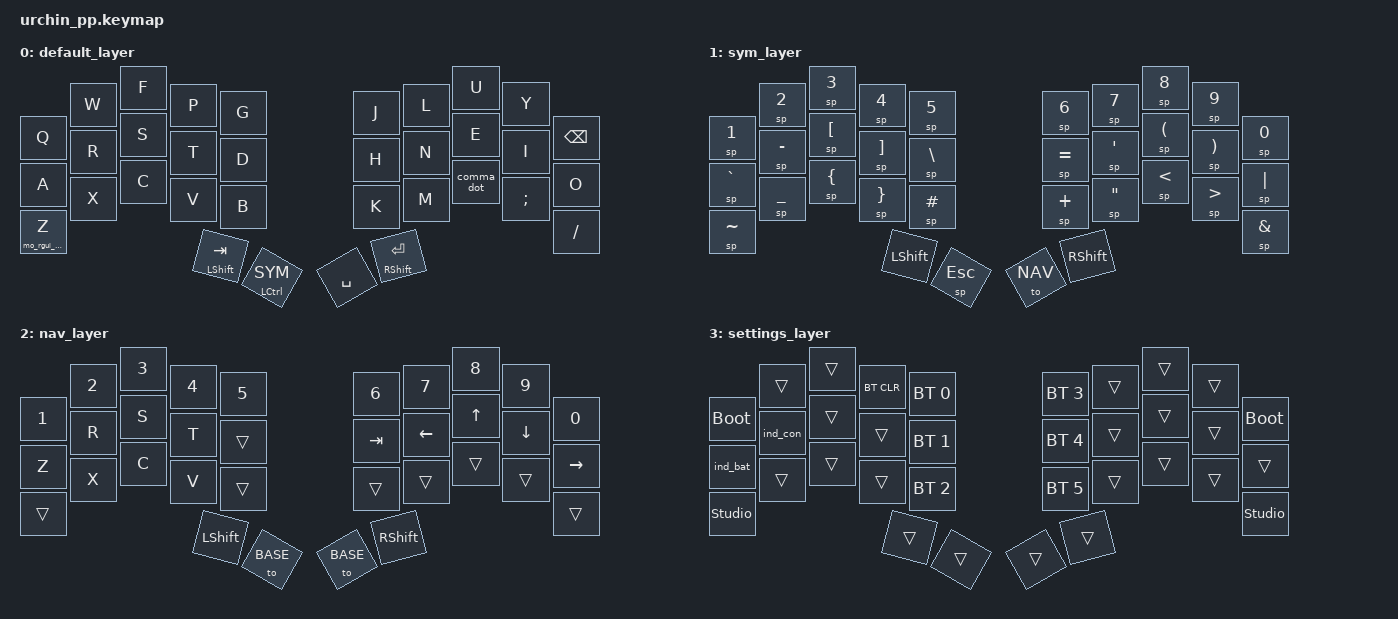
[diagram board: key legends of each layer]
/*
 * urchin++ keymap: ported from brancz/urchin-zmk-firmware (config/urchin.keymap,
 * commit 5bfccc6), which is based on duckyb's Urchin keymap.
 * Copyright (c) 2020 duckyb
 *
 * SPDX-License-Identifier: MIT
 *
 * Positions are the Urchin's: three rows of 5 + 5 keys (0-29), then the thumbs left outer,
 * left inner, right inner, right outer (30-33). Added for urchin++: &ind_bat / &ind_con on
 * the settings layer (zmk-rgbled-widget: show battery level / connection state on the LED).
 */

#include <behaviors.dtsi>
#include <behaviors/rgbled_widget.dtsi>
#include <dt-bindings/zmk/keys.h>
#include <dt-bindings/zmk/bt.h>
#include <dt-bindings/zmk/outputs.h>

// Layer definitions
#define BASE 0
#define SYM 1
#define NAV 2
#define SETTINGS 3
// -----------------

&sk {
	// don't release mods on other mods presses
	ignore-modifiers;
};


/ {
	behaviors {
		// Enables holding the first mod-tap key
		// by performing a tap-release-hold sequence.
		// To use it: "&qt KEYCODE1 KEYCODE2"
		qt: quick_tap {
			compatible = "zmk,behavior-hold-tap";
			#binding-cells = <2>;
			flavor = "hold-preferred";
			tapping-term-ms = <300>;
			quick-tap-ms = <300>;
			bindings = <&kp>, <&kp>;
		};

        comma_dot: comma_dot {
            compatible = "zmk,behavior-mod-morph";
            #binding-cells = <0>;
            bindings = <&kp COMMA>, <&kp DOT>;
            mods = <(MOD_LSFT|MOD_RSFT)>;
        };

        // Macro to activate both RGUI and NAV layer
        mo_rgui_nav: mo_rgui_nav {
            compatible = "zmk,behavior-macro";
            #binding-cells = <0>;
            bindings = <&macro_press &kp RGUI &mo NAV>,
                      <&macro_pause_for_release>,
                      <&macro_release &kp RGUI &mo NAV>;
        };

        // Custom mod-tap that combines RGUI with layer access
        rgui_nav_kp: rgui_nav_kp {
            compatible = "zmk,behavior-hold-tap";
            #binding-cells = <2>;
            flavor = "tap-preferred";
            tapping-term-ms = <200>;
            quick-tap-ms = <175>;
            bindings = <&mo_rgui_nav>, <&kp>;
        };

        lth: lth {
            compatible = "zmk,behavior-hold-tap";
            #binding-cells = <2>;
            flavor = "tap-preferred";
            tapping-term-ms = <200>;
            quick-tap-ms = <175>;
            bindings = <&kp>, <&to>;
        };
	};

	combos {
		compatible = "zmk,combos";
		// both left thumb keys
		combo_settings {
			timeout-ms = <200>;
			key-positions = <30 31>;
			bindings = <&mo SETTINGS>;
		};
	};

    macros {
        sp: sp {
            compatible = "zmk,behavior-macro-one-param";
            #binding-cells = <1>;
            bindings
                = <&macro_param_1to1>
                , <&macro_tap &kp MACRO_PLACEHOLDER>
                , <&macro_tap &to BASE>
                ;
        };

        gui_layer: gui_layer {
            compatible = "zmk,behavior-macro";
            #binding-cells = <0>;
            bindings
                = <&macro_press &kp LGUI>
                , <&macro_pause_for_release>
                , <&macro_release &to BASE &kp LGUI>
                ;
        };
    };

	keymap {
		compatible = "zmk,keymap";
		// Base alpha layer
		default_layer {
			bindings = <
			&kp Q &kp W &kp F &kp P &kp G                           &kp J &kp L  &kp U      &kp Y   &kp BSPC
			&kp A &kp R &kp S &kp T &kp D                           &kp H &kp N  &kp E      &kp I   &kp O
			&rgui_nav_kp 0 Z &kp X &kp C &kp V &kp B                &kp K &kp M  &comma_dot &kp SEMICOLON &kp SLASH
					          &qt LSHIFT TAB   &lth LCTRL SYM       &kp SPACE &qt RSHIFT ENTER
			>;
		};

		// Numbers and high frequency symbols
        sym_layer {
			bindings = <
			&sp N1 &sp N2 &sp N3 &sp N4 &sp N5                         &sp N6 &sp N7 &sp N8 &sp N9 &sp N0
			&sp GRAVE &sp MINUS &sp LBKT &sp RBKT &sp BSLH             &sp EQUAL &sp SQT &sp LPAR &sp RPAR &sp PIPE
			&sp TILDE &sp UNDER &sp LBRC &sp RBRC &sp HASH             &sp PLUS &sp DQT &sp LT &sp GT &sp AMPS
                                         &kp LSHIFT &sp ESC            &to NAV &kp RSHIFT
			>;
		};

        nav_layer {
			bindings = <
			&kp N1 &kp N2 &kp N3 &kp N4 &kp N5               &kp N6 &kp N7 &kp N8 &kp N9 &kp N0
			&kp Z &kp R &kp S &kp T &trans                   &kp TAB &kp LEFT &kp UP &kp DOWN &kp RIGHT
			&trans &kp X &kp C &kp V &trans                  &trans &trans &trans &trans &trans
                               &kp LSHIFT &to BASE               &to BASE &kp RSHIFT
			>;
		};

		// Used to change the keyboard's settings.
		settings_layer {
				bindings = <
				&bootloader &trans &trans &bt BT_CLR &bt BT_SEL 0         &bt BT_SEL 3 &trans &trans &trans &bootloader
				&ind_bat &ind_con &trans &trans      &bt BT_SEL 1 			    &bt BT_SEL 4 &trans &trans &trans &trans
				&studio_unlock &trans &trans &trans &bt BT_SEL 2           &bt BT_SEL 5 &trans &trans &trans &studio_unlock
										         &trans &trans            &trans &trans
				>;
		};
	};
};
